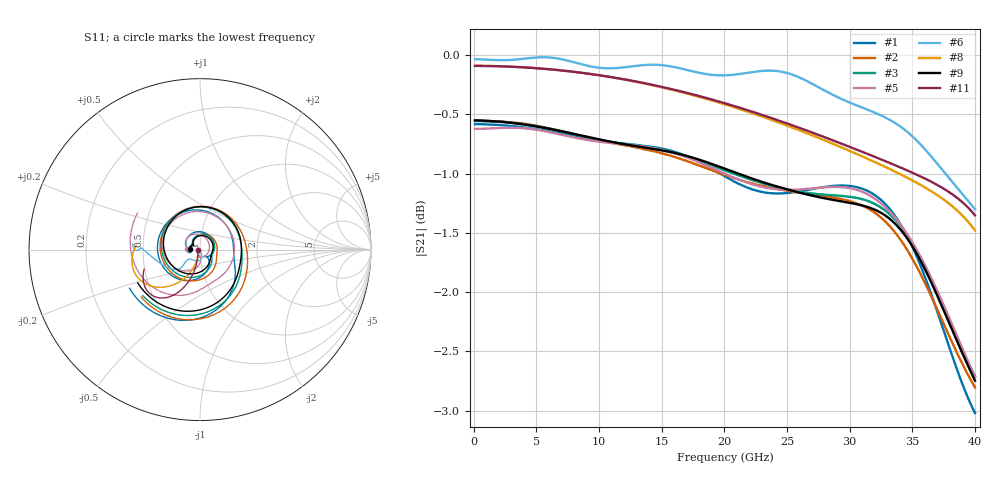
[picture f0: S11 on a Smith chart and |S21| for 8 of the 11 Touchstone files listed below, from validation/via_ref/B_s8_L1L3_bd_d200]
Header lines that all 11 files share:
# Hz S RI R 50
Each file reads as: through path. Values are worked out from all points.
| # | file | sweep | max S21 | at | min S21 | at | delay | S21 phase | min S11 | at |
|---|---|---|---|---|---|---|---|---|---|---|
| 1 | cst.s2p | 100 MHz to 40 GHz | -0.58 dB | 200 MHz | -3.0 dB | 40 GHz | 54.7 ps | -32 deg at 20.1 GHz | -26.8 dB | 14.7 GHz |
| 2 | cst_fine.s2p | 100 MHz to 40 GHz | -0.55 dB | 200 MHz | -2.8 dB | 40 GHz | 54.4 ps | -31 deg at 20.1 GHz | -26.0 dB | 3.8 GHz |
| 3 | cst_xfine.s2p | 100 MHz to 40 GHz | -0.56 dB | 200 MHz | -2.7 dB | 40 GHz | 54.3 ps | -30 deg at 20.1 GHz | -25.1 dB | 3.3 GHz |
| 4 | kisi.s2p | 100 MHz to 40 GHz | -0.55 dB | 100 MHz | -2.6 dB | 40 GHz | 54.4 ps | -31 deg at 20.1 GHz | -28.2 dB | 3.8 GHz |
| 5 | kisi_base.s2p | 100 MHz to 40 GHz | -0.61 dB | 2.9 GHz | -2.7 dB | 40 GHz | 56.8 ps | -47 deg at 20.1 GHz | -29.3 dB | 15.1 GHz |
| 6 | kisi_deembedded.s2p | 100 MHz to 40 GHz | -0.02 dB | 5.5 GHz | -1.3 dB | 40 GHz | 3.67 ps | -24 deg at 20.1 GHz | -41.8 dB | 1.7 GHz |
| 7 | kisi_model.s2p | 100 MHz to 25 GHz | -0.02 dB | 100 MHz | -1.4 dB | 25 GHz | 52 ps | 123 deg at 12.6 GHz | -54.5 dB | 100 MHz |
| 8 | ladder.s2p | 100 MHz to 40 GHz | -0.09 dB | 100 MHz | -1.5 dB | 40 GHz | 3.93 ps | -26 deg at 20.1 GHz | -39.6 dB | 100 MHz |
| 9 | openems.s2p | 100 MHz to 40 GHz | -0.55 dB | 100 MHz | -2.7 dB | 40 GHz | 54.8 ps | -33 deg at 20.1 GHz | -27.0 dB | 4 GHz |
| 10 | openems_base.s2p | 100 MHz to 40 GHz | -0.60 dB | 100 MHz | -3.0 dB | 40 GHz | 57.2 ps | -50 deg at 20.1 GHz | -34.8 dB | 15.8 GHz |
| 11 | pbm.s2p | 100 MHz to 40 GHz | -0.09 dB | 100 MHz | -1.4 dB | 40 GHz | 3 ps | -19 deg at 20.1 GHz | -39.5 dB | 100 MHz |
